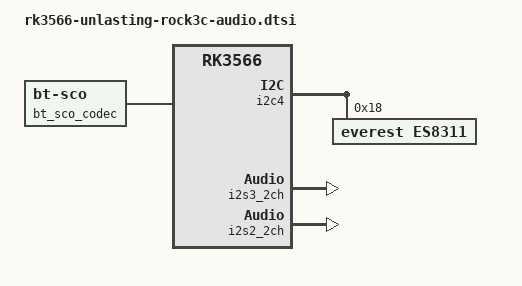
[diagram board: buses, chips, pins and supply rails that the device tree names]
// SPDX-License-Identifier: (GPL-2.0+ OR MIT)
/*
 * Copyright (c) 2024 Rockchip Electronics Co., Ltd.
 *
 */
/ {
	/* inmp441 */
	pdmics: dummy-codec {
		status = "disabled";
		compatible = "rockchip,dummy-codec";
		#sound-dai-cells = <0>;
	};

	max98357a_codec: max98357a-codec {
		compatible = "maxim,max98357a";
		pinctrl-names = "default";
		pinctrl-0 = <&sdmode_en>;
		sdmode-gpios = <&gpio3 RK_PB2 GPIO_ACTIVE_HIGH>;
		sdmode-delay = <2>;
		#sound-dai-cells = <0>;
		status = "disabled";
	};

	max98357a_machine: max98357a-machine {
		status = "okay";
		compatible = "simple-audio-card";
		simple-audio-card,format = "i2s";
		simple-audio-card,name = "dummy-card";
		simple-audio-card,mclk-fs = <128>;
		simple-audio-card,cpu {
			sound-dai = <&i2s3_2ch>;
		};
		/*
		master: simple-audio-card,codec {
			sound-dai = <&max98357a_codec>;
		};
		*/
		master: simple-audio-card,codec {
			sound-dai = <&pdmics>;
		};
	};
	/* bluetooth hfp */
	bt_sco_codec: bt-sco-codec {
		compatible = "linux,bt-sco";
		#sound-dai-cells = <0>;
	};

	bt_machine: bt-sco-machine {
		compatible = "simple-audio-card";
		simple-audio-card,name = "bt-sco";
		simple-audio-card,format = "dsp_b";
		simple-audio-card,bitclock-inversion;
		simple-audio-card,frame-master = <&bt_cpu>;
		simple-audio-card,bitclock-master = <&bt_cpu>;
		simple-audio-card,mclk-fs = <64>;
		status = "disabled";

		bt_cpu: simple-audio-card,cpu {
			sound-dai = <&i2s2_2ch>;
			dai-tdm-slot-num = <2>;
			dai-tdm-slot-width = <16>;
		};

		bt_codec: simple-audio-card,codec {
			sound-dai = <&bt_sco_codec>;
		};
	};

	wm8978_machine: wm8978-machine {
		status = "disabled";
		compatible = "simple-audio-card";
		simple-audio-card,format = "i2s";
		simple-audio-card,name = "card,wm8978";
		simple-audio-card,mclk-fs = <256>;
		simple-audio-card,cpu {
			sound-dai = <&i2s3_2ch>;
		};
		codec_master: simple-audio-card,codec {
			sound-dai = <&wm8978>;
		};
	};

	es8311_machine: es8311-machine {
		status = "okay";
		compatible = "simple-audio-card";
		simple-audio-card,format = "i2s";
		simple-audio-card,name = "card,es8311";
		simple-audio-card,mclk-fs = <256>;
		simple-audio-card,cpu {
			sound-dai = <&i2s3_2ch>;
		};
		simple-audio-card,codec {
			sound-dai = <&es8311>;
		};
	};
};

&i2c4 {
	pinctrl-0 = <&i2c4m0_xfer>;
	pinctrl-names = "default";
	#address-cells = <1>;
	#size-cells = <0>;
	// clock-frequency = <400000>;

	status = "okay";
	wm8978: codec@1a {
		compatible = "wlf,wm8978";
		#sound-dai-cells = <0>;
		reg = <0x1a>;
		status = "disabled";
		clocks = <&cru I2S3_MCLKOUT>;
		clock-names = "mclk";
		assigned-clocks = <&cru I2S3_MCLKOUT>, <&cru I2S3_MCLK_IOE>;
		assigned-clock-rates = <12288000>;
		assigned-clock-parents = <&cru I2S3_MCLKOUT_TX>, <&cru I2S3_MCLKOUT>;
		pinctrl-names = "default";
		pinctrl-0 = <&i2s3m0_mclk>;
	};

	es8311: es8311@18 {
		compatible = "everest,es8311";
		reg = <0x18>;
		status = "okay";
		clocks = <&cru I2S3_MCLKOUT>;
		clock-names = "mclk";
		assigned-clocks = <&cru I2S3_MCLKOUT>, <&cru I2S3_MCLK_IOE>;
		assigned-clock-rates = <12288000>;
		assigned-clock-parents = <&cru I2S3_MCLKOUT_TX>, <&cru I2S3_MCLKOUT>;
		pinctrl-names = "default";
		pinctrl-0 = <&i2s3m0_mclk>;
		adc-pga-gain = <6>;	/* 18dB */
		adc-volume = <0xbf>;	/* 0dB */
		dac-volume = <0xbf>;	/* 0dB */
		aec-mode = "dac left, adc right";
		#sound-dai-cells = <0>;
	};
};

&pinctrl {
	max98357a {
		sdmode_en: sdmode-en {
			rockchip,pins = <3 RK_PB2 RK_FUNC_GPIO &pcfg_pull_down>;
		};
	};
};

&i2s3_2ch {
	status = "okay";
};

&hdmi_sound {
	status = "disabled";
};

&rk809_sound {
	status = "disabled";
};

&i2s2_2ch {
	rockchip,trcm-sync-tx-only;
	status = "okay";
};
